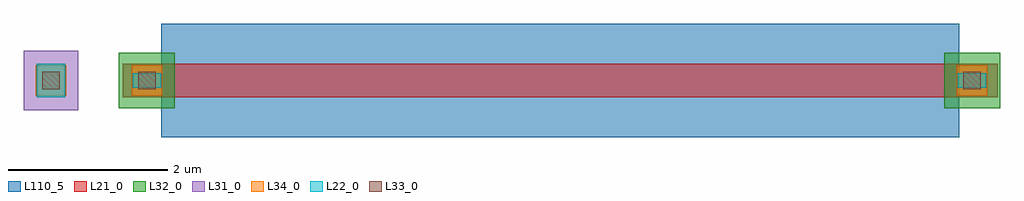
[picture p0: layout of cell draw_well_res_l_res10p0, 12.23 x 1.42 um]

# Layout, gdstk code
import gdstk
lib = gdstk.Library(unit=1e-6, precision=1e-09)
def R(c, l, rs):  # rectangles x0, y0, x1, y1
    for r in rs: c.add(gdstk.rectangle(r[:2], r[2:], *l))
L21_0 = (21, 0)
L22_0 = (22, 0)
L31_0 = (31, 0)
L32_0 = (32, 0)
L33_0 = (33, 0)
L34_0 = (34, 0)
L110_5 = (110, 5)

draw_well_res_l_res10p0 = lib.new_cell('draw_well_res_l_res10p0')
R(draw_well_res_l_res10p0, L21_0, [(-0.48,0.5,10.48,0.92)])
R(draw_well_res_l_res10p0, L22_0, [(-1.56,0.5,-1.2,0.92), (-0.36,0.62,0,0.8), (9.98,0.62,10.34,0.8)])
R(draw_well_res_l_res10p0, L31_0, [(-1.72,0.34,-1.04,1.08)])
R(draw_well_res_l_res10p0, L32_0, [(-0.53,0.36,0.17,1.06), (9.81,0.36,10.51,1.06)])
R(draw_well_res_l_res10p0, L33_0, [(-1.49,0.6,-1.27,0.82), (-0.29,0.6,-0.07,0.82), (10.05,0.6,10.27,0.82)])
R(draw_well_res_l_res10p0, L34_0, [(-1.57,0.52,-1.19,0.9), (-0.37,0.52,0.01,0.9), (9.97,0.52,10.35,0.9)])
R(draw_well_res_l_res10p0, L110_5, [(0,0,10,1.42)])

lib.write_gds('draw_well_res_l_res10p0.gds')
